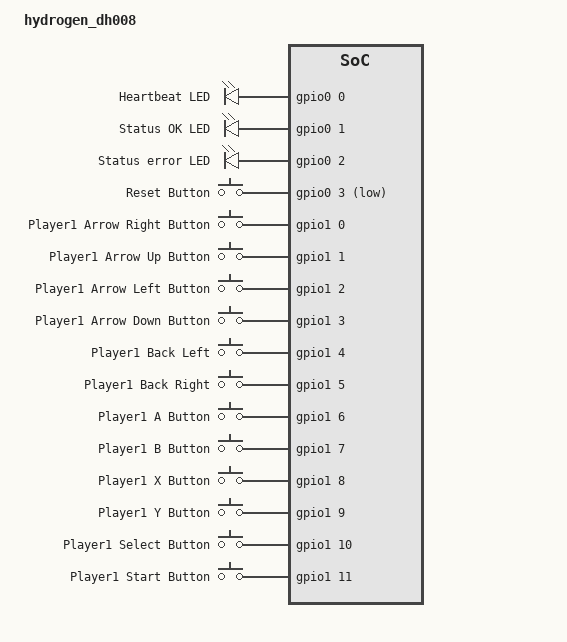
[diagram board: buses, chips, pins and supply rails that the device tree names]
/*
 * Copyright (c) 2020 Phytec Messtechnik GmbH
 *
 * SPDX-License-Identifier: Apache-2.0
 */

/dts-v1/;

#include <hydrogen4.dtsi>

/ {
	model = "hydrogen_dh008";
	compatible = "hydrogen,hydrogen_dh008";

	aliases {
		uart-0 = &uart0;
		gpio-0 = &gpio0;
		gpio-1 = &gpio1;
		spi-0 = &spi0;
	};

	chosen {
		zephyr,console = &uart0;
		zephyr,shell-uart = &uart0;
		zephyr,sram = &ram0;
	};

	leds {
		compatible = "gpio-leds";

		heartbeat: HEARTBEAT {
			gpios = <&gpio0 0 GPIO_ACTIVE_HIGH>;
			label = "Heartbeat LED";
		};

		ok: OK {
			gpios = <&gpio0 1 GPIO_ACTIVE_HIGH>;
			label = "Status OK LED";
		};

		error: ERROR {
			gpios = <&gpio0 2 GPIO_ACTIVE_HIGH>;
			label = "Status error LED";
		};
	};

	keys {
		compatible = "gpio-keys";

		reset: RESET {
			gpios = <&gpio0 3 GPIO_ACTIVE_LOW>;
			label = "Reset Button";
		};

		player1_arrow_right: PLAYER1_ARROW_RIGHT {
			gpios = <&gpio1 0 GPIO_ACTIVE_HIGH>;
			label = "Player1 Arrow Right Button";
		};

		player1_arrow_up: PLAYER1_ARROW_UP {
			gpios = <&gpio1 1 GPIO_ACTIVE_HIGH>;
			label = "Player1 Arrow Up Button";
		};

		player1_arrow_left: PLAYER1_ARROW_LEFT {
			gpios = <&gpio1 2 GPIO_ACTIVE_HIGH>;
			label = "Player1 Arrow Left Button";
		};

		player1_arrow_down: PLAYER1_ARROW_DOWN {
			gpios = <&gpio1 3 GPIO_ACTIVE_HIGH>;
			label = "Player1 Arrow Down Button";
		};

		player1_back_left: PLAYER1_BACK_LEFT {
			gpios = <&gpio1 4 GPIO_ACTIVE_HIGH>;
			label = "Player1 Back Left";
		};

		player1_back_right: PLAYER1_BACK_RIGHT {
			gpios = <&gpio1 5 GPIO_ACTIVE_HIGH>;
			label = "Player1 Back Right";
		};

		player1_a: PLAYER1_A {
			gpios = <&gpio1 6 GPIO_ACTIVE_HIGH>;
			label = "Player1 A Button";
		};

		player1_b: PLAYER1_B {
			gpios = <&gpio1 7 GPIO_ACTIVE_HIGH>;
			label = "Player1 B Button";
		};

		player1_x: PLAYER1_X {
			gpios = <&gpio1 8 GPIO_ACTIVE_HIGH>;
			label = "Player1 X Button";
		};

		player1_y: PLAYER1_Y {
			gpios = <&gpio1 9 GPIO_ACTIVE_HIGH>;
			label = "Player1 Y Button";
		};

		player1_select: PLAYER1_SELECT {
			gpios = <&gpio1 10 GPIO_ACTIVE_HIGH>;
			label = "Player1 Select Button";
		};

		player1_start: PLAYER1_START {
			gpios = <&gpio1 11 GPIO_ACTIVE_HIGH>;
			label = "Player1 Start Button";
		};
	};
};
